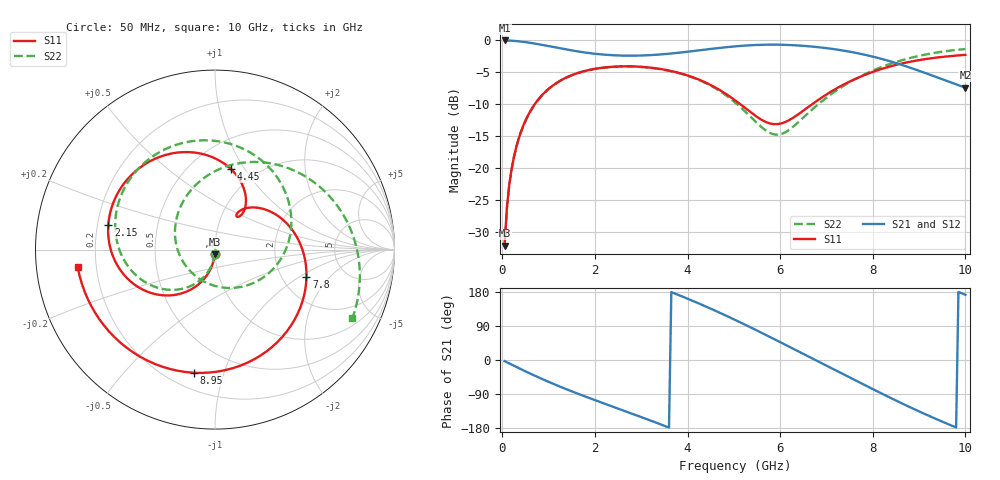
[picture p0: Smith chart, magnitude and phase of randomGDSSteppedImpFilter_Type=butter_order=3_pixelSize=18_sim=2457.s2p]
! freq	dB(S11)	phase(S11)	dB(S12)	phase(S12)
!  dB(S21)	phase(S21)	dB(S22)	phase(S22)
!S-par simulation data
#  GHz  S  DB  R 50
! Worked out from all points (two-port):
!   200 points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, 50 MHz to 10 GHz, reference 50 ohm
!   highest |S21| = 0.00 dB at 50 MHz (marker M1); lowest = -7.4 dB at 10 GHz (marker M2)
!   |S21| within 3 dB of the highest: start of sweep to 8.246 GHz
!   lowest |S11| = -32.2 dB at 50 MHz (marker M3), VSWR 1.05, Z = 49.8 - j2.45 ohm
!   |S11| at or under -10 dB: start of sweep to 701.1 MHz; 5.139 GHz to 6.691 GHz (1.553 GHz wide, 26.2 % of centre)
!   |S22| runs from -32.3 to -1.4 dB; largest |S21 - S12| = 0
!   S11 on the Smith chart (normalised r, x): 50 MHz: 1.00, -0.05; 2.15 GHz: 0.25, +0.11; 4.45 GHz: 0.77, +0.87; 7.8 GHz: 2.72, -1.15; 8.95 GHz: 0.30, -0.80; 10 GHz: 0.13, -0.06
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0.05  -32.18 -92.8  -0.00 -3.0  -0.00 -3.0  -32.27 -93.3
0.1  -26.18 -95.7  -0.01 -6.1  -0.01 -6.1  -26.26 -96.5
0.2  -20.20 -101.3  -0.04 -12.1  -0.04 -12.1  -20.28 -103.0
0.5  -12.58 -117.9  -0.26 -29.9  -0.26 -29.9  -12.64 -122.1
1.1  -7.02 -148.4  -1.03 -62.9  -1.03 -62.9  -7.05 -158.0
1.75  -4.85 -177.0  -1.86 -94.5  -1.86 -94.5  -4.87 166.9
2.15  -4.29 167.0  -2.20 -112.6  -2.20 -112.6  -4.31 146.6
2.8  -4.07 142.1  -2.39 -141.5  -2.39 -141.5  -4.10 114.0
3.4  -4.46 119.2  -2.21 -168.9  -2.21 -168.9  -4.49 82.7
3.95  -5.37 97.9  -1.82 164.3  -1.82 164.3  -5.41 51.4
4.45  -6.81 78.7  -1.38 138.2  -1.38 138.2  -6.90 19.6
5.05  -9.51 59.1  -0.91 104.5  -0.91 104.5  -9.87 -25.9
5.45  -11.73 52.8  -0.72 80.8  -0.72 80.8  -12.60 -65.6
5.8  -13.05 54.9  -0.66 59.5  -0.66 59.5  -14.57 -112.3
6.25  -12.26 58.3  -0.73 31.7  -0.73 31.7  -13.72 -177.8
6.7  -9.95 47.7  -0.97 3.8  -0.97 3.8  -10.77 135.3
7.2  -7.59 22.6  -1.41 -27.3  -1.41 -27.3  -7.93 99.4
7.8  -5.49 -16.5  -2.20 -64.5  -2.20 -64.5  -5.40 65.4
8.35  -4.13 -56.1  -3.22 -98.0  -3.22 -98.0  -3.75 38.6
8.95  -3.14 -99.8  -4.63 -132.9  -4.63 -132.9  -2.50 12.5
9.4  -2.67 -131.8  -5.82 -157.4  -5.82 -157.4  -1.87 -5.2
10  -2.26 -172.7  -7.41 172.2  -7.41 172.2  -1.36 -26.5
